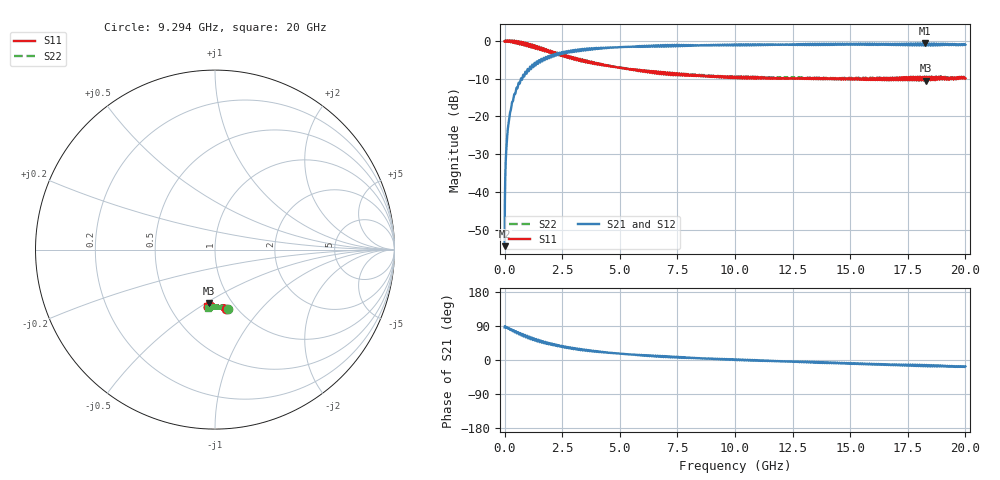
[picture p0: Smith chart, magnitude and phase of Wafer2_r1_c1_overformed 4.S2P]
!  2-Port S-parameters saved by WinCal
! VAR MeasName=S-Parameters (CALIBRATED_DATA) read from VNA (P5004A)
! VAR MeasDate=24/04/2024 16:32:09
! VAR NAME=Wafer2_r1_c1_overformed 4
! VAR FILENAME=Wafer2_r1_c1_overformed 4.S2P
! VAR DATE=24/04/2024 16:32:09
! VAR PHYS_PORTS=1,2
! VAR ObjTypeName=DATASET
! VAR IndexType=Frequency
# Hz S MA R 50
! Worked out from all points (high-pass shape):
!   4999 points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, 4.01 MHz to 20 GHz, reference 50 ohm
!   highest |S21| = -0.62 dB at 18.24 GHz (marker M1); lowest = -54.4 dB at 4.01 MHz (marker M2)
!   |S21| within 3 dB of the highest: 2.255 GHz to 2.318 GHz (62.79 MHz wide, 2.75 % of centre); 2.342 GHz to end of sweep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
!   lowest |S11| = -10.5 dB at 18.29 GHz (marker M3), VSWR 1.85, Z = 39.4 - j25.7 ohm
!   |S11| at or under -10 dB: 15.36581 GHz to 15.43105 GHz (65.24 MHz wide, 0.424 % of centre); 15.46453 GHz to 15.53157 GHz (67.03 MHz wide, 0.433 % of centre); 15.56401 GHz to 15.63198 GHz (67.97 MHz wide, 0.436 % of centre)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
!   |S22| runs from -10.2 to 0.1 dB; largest |S21 - S12| = 0.015
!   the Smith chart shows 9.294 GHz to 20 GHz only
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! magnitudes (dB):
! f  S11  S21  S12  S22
! 4.01 MHz  -0.1  -54.4  -54.3  -0.1
! 44.02 MHz  0.1  -33.4  -33.5  0.1
! 112 MHz  0.0  -25.6  -25.6  0.0
! 140 MHz  0.1  -23.5  -23.5  0.1
! 180 MHz  -0.2  -21.8  -21.7  -0.2
! 248.1 MHz  -0.1  -18.8  -18.9  -0.1
! 348.1 MHz  -0.2  -16.0  -16.1  -0.2
! 464.1 MHz  -0.6  -14.0  -14.0  -0.6
! 624.1 MHz  -0.2  -11.0  -11.1  -0.2
! 824.2 MHz  -0.5  -9.0  -9.0  -0.5
! 1.04 GHz  -1.4  -8.0  -8.0  -1.4
! 1.56 GHz  -2.2  -5.5  -5.5  -2.3
! 2.36 GHz  -3.4  -3.3  -3.3  -3.5
! 3.341 GHz  -5.2  -2.5  -2.5  -5.2
! 4.797 GHz  -6.9  -1.7  -1.7  -6.8
! 6.673 GHz  -8.1  -1.1  -1.1  -8.2
! 10 GHz  -9.7  -1.1  -1.2  -9.6
! 13.33 GHz  -9.9  -1.0  -1.0  -9.8
! 16.67 GHz  -10.3  -0.9  -0.9  -9.8
! 18.24 GHz  -9.5  -0.6  -0.6  -9.6
! 18.29 GHz  -10.5  -1.2  -1.2  -10.0
! 20 GHz  -9.9  -1.0  -1.0  -9.6
